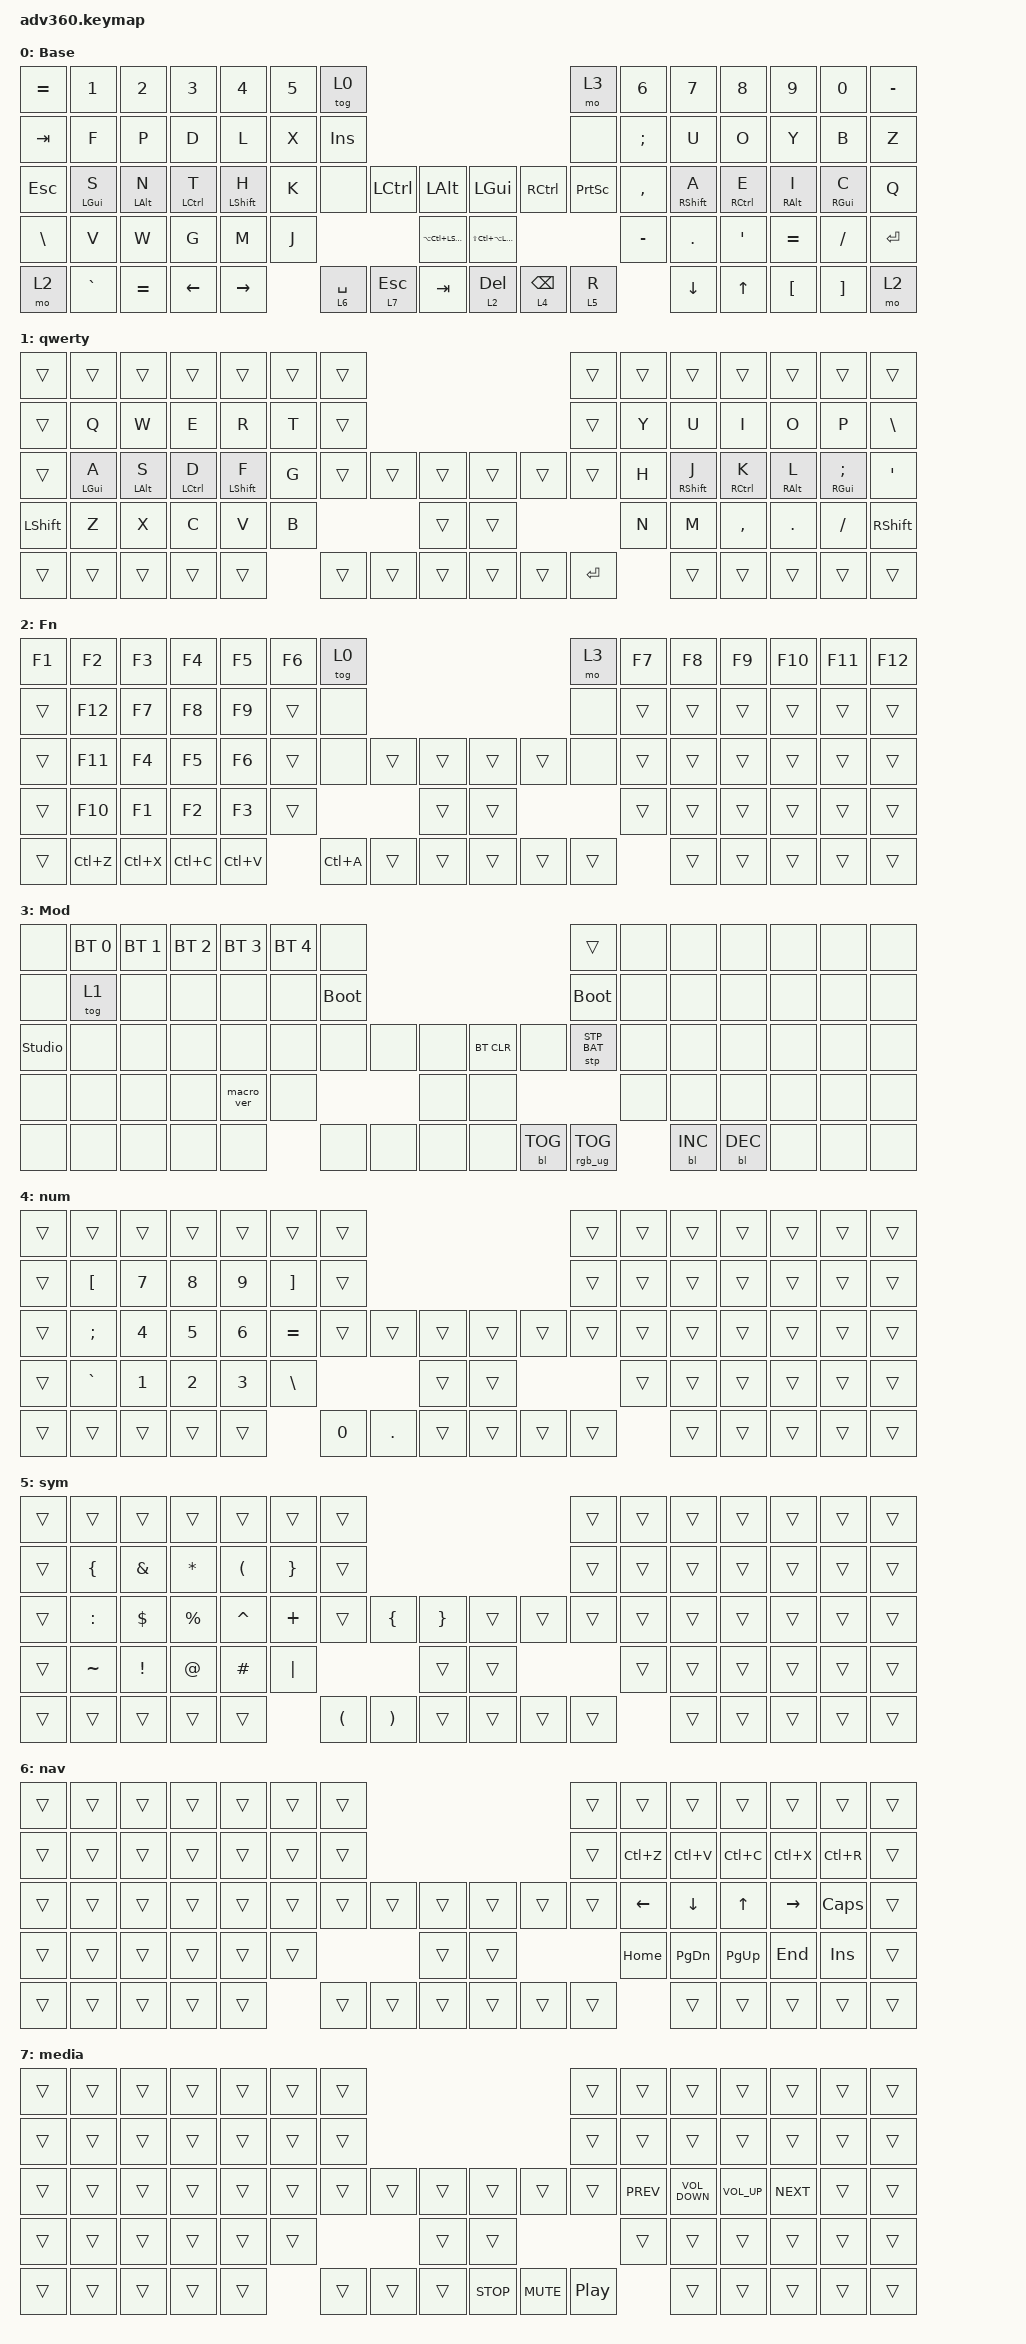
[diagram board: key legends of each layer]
#include <dt-bindings/zmk/stp.h>
#include <behaviors.dtsi>
#include <dt-bindings/zmk/backlight.h>
#include <dt-bindings/zmk/bt.h>
#include <dt-bindings/zmk/keys.h>
#include <dt-bindings/zmk/rgb.h>

/ {
    behaviors {
        #include "macros.dtsi"
      #include "version.dtsi"

        hm: homerow_mods {
            compatible = "zmk,behavior-hold-tap";
            label = "HOMEROW_MODS";
            #binding-cells = <2>;
            tapping-term-ms = <200>;
            quick_tap_ms = <200>;
            flavor = "tap-preferred";
            bindings = <&kp>, <&kp>;
        };
    };

    keymap {
        compatible = "zmk,keymap";

        default_layer {
            display-name = "Base";
            bindings = <
&kp EQUAL  &kp N1          &kp N2          &kp N3              &kp N4            &kp N5  &tog 0                                                                                         &mo 3            &kp N6     &kp N7             &kp N8               &kp N9           &kp N0           &kp MINUS
&kp TAB    &kp F           &kp P           &kp D               &kp L             &kp X   &kp INS                                                                                        &none            &kp SEMI   &kp U              &kp O                &kp Y            &kp B            &kp Z
&kp ESC    &hm LEFT_GUI S  &hm LEFT_ALT N  &hm LEFT_CONTROL T  &hm LEFT_SHIFT H  &kp K   &none        &kp LCTRL     &kp LALT                    &kp LGUI               &kp RCTRL        &kp PRINTSCREEN  &kp COMMA  &hm RIGHT_SHIFT A  &hm RIGHT_CONTROL E  &hm RIGHT_ALT I  &hm RIGHT_GUI C  &kp Q
&kp BSLH   &kp V           &kp W           &kp G               &kp M             &kp J                              &kp LA(LC(LEFT_SHIFT))      &kp LS(LC(LA(LMETA)))                                    &kp MINUS  &kp DOT            &kp APOS             &kp EQUAL        &kp FSLH         &kp ENTER
&mo 2      &kp GRAVE       &kp EQUAL       &kp LEFT            &kp RIGHT                 &lt 6 SPACE  &lt 7 ESCAPE  &kp TAB                     &lt 2 DELETE           &lt 4 BACKSPACE  &lt 5 R                     &kp DOWN_ARROW     &kp UP_ARROW         &kp LBKT         &kp RBKT         &mo 2
            >;
        };

        qwerty {
            bindings = <
&trans     &trans          &trans          &trans              &trans            &trans  &trans                                      &trans     &trans  &trans             &trans               &trans           &trans                   &trans
&trans     &kp Q           &kp W           &kp E               &kp R             &kp T   &trans                                      &trans     &kp Y   &kp U              &kp I                &kp O            &kp P                    &kp BSLH
&trans     &hm LEFT_GUI A  &hm LEFT_ALT S  &hm LEFT_CONTROL D  &hm LEFT_SHIFT F  &kp G   &trans  &trans  &trans      &trans  &trans  &trans     &kp H   &hm RIGHT_SHIFT J  &hm RIGHT_CONTROL K  &hm RIGHT_ALT L  &hm RIGHT_GUI SEMICOLON  &kp APOS
&kp LSHFT  &kp Z           &kp X           &kp C               &kp V             &kp B                   &trans      &trans                     &kp N   &kp M              &kp COMMA            &kp DOT          &kp FSLH                 &kp RSHFT
&trans     &trans          &trans          &trans              &trans                    &trans  &trans  &trans      &trans  &trans  &kp ENTER          &trans             &trans               &trans           &trans                   &trans
            >;
        };

        fn {
            display-name = "Fn";
            bindings = <
&kp F1  &kp F2     &kp F3     &kp F4     &kp F5     &kp F6  &tog 0                                         &mo 3   &kp F7  &kp F8  &kp F9  &kp F10  &kp F11  &kp F12
&trans  &kp F12    &kp F7     &kp F8     &kp F9     &trans  &none                                          &none   &trans  &trans  &trans  &trans   &trans   &trans
&trans  &kp F11    &kp F4     &kp F5     &kp F6     &trans  &none      &trans  &trans      &trans  &trans  &none   &trans  &trans  &trans  &trans   &trans   &trans
&trans  &kp F10    &kp F1     &kp F2     &kp F3     &trans                     &trans      &trans                  &trans  &trans  &trans  &trans   &trans   &trans
&trans  &kp LC(Z)  &kp LC(X)  &kp LC(C)  &kp LC(V)          &kp LC(A)  &trans  &trans      &trans  &trans  &trans          &trans  &trans  &trans   &trans   &trans
            >;
        };

        mod {
            display-name = "Mod";
            bindings = <
&none           &bt BT_SEL 0  &bt BT_SEL 1  &bt BT_SEL 2  &bt BT_SEL 3  &bt BT_SEL 4  &none                                                  &trans           &none  &none       &none       &none  &none  &none
&none           &tog 1        &none         &none         &none         &none         &bootloader                                            &bootloader      &none  &none       &none       &none  &none  &none
&studio_unlock  &none         &none         &none         &none         &none         &none        &none  &none      &bt BT_CLR  &none       &stp STP_BAT     &none  &none       &none       &none  &none  &none
&none           &none         &none         &none         &macro_ver    &none                             &none      &none                                    &none  &none       &none       &none  &none  &none
&none           &none         &none         &none         &none                       &none        &none  &none      &none       &bl BL_TOG  &rgb_ug RGB_TOG         &bl BL_INC  &bl BL_DEC  &none  &none  &none
            >;
        };

        num {
            bindings = <
&trans  &trans     &trans  &trans  &trans  &trans     &trans                                       &trans  &trans  &trans  &trans  &trans  &trans  &trans
&trans  &kp LBKT   &kp N7  &kp N8  &kp N9  &kp RBKT   &trans                                       &trans  &trans  &trans  &trans  &trans  &trans  &trans
&trans  &kp SEMI   &kp N4  &kp N5  &kp N6  &kp EQUAL  &trans  &trans   &trans      &trans  &trans  &trans  &trans  &trans  &trans  &trans  &trans  &trans
&trans  &kp GRAVE  &kp N1  &kp N2  &kp N3  &kp BSLH                    &trans      &trans                  &trans  &trans  &trans  &trans  &trans  &trans
&trans  &trans     &trans  &trans  &trans             &kp N0  &kp DOT  &trans      &trans  &trans  &trans          &trans  &trans  &trans  &trans  &trans
            >;
        };

        sym {
            bindings = <
&trans  &trans          &trans           &trans        &trans                &trans           &trans                                                                            &trans  &trans  &trans  &trans  &trans  &trans  &trans
&trans  &kp LEFT_BRACE  &kp AMPERSAND    &kp ASTERISK  &kp LEFT_PARENTHESIS  &kp RIGHT_BRACE  &trans                                                                            &trans  &trans  &trans  &trans  &trans  &trans  &trans
&trans  &kp COLON       &kp DOLLAR       &kp PERCENT   &kp CARET             &kp PLUS         &trans                &kp LEFT_BRACE         &kp RIGHT_BRACE      &trans  &trans  &trans  &trans  &trans  &trans  &trans  &trans  &trans
&trans  &kp TILDE       &kp EXCLAMATION  &kp AT_SIGN   &kp POUND             &kp PIPE                                                      &trans               &trans                  &trans  &trans  &trans  &trans  &trans  &trans
&trans  &trans          &trans           &trans        &trans                                 &kp LEFT_PARENTHESIS  &kp RIGHT_PARENTHESIS  &trans               &trans  &trans  &trans          &trans  &trans  &trans  &trans  &trans
            >;
        };

        nav {
            bindings = <
&trans  &trans  &trans  &trans  &trans  &trans  &trans                                      &trans  &trans          &trans          &trans        &trans           &trans        &trans
&trans  &trans  &trans  &trans  &trans  &trans  &trans                                      &trans  &kp LC(Z)       &kp LC(V)       &kp LC(C)     &kp LC(X)        &kp LC(R)     &trans
&trans  &trans  &trans  &trans  &trans  &trans  &trans  &trans  &trans      &trans  &trans  &trans  &kp LEFT_ARROW  &kp DOWN_ARROW  &kp UP_ARROW  &kp RIGHT_ARROW  &kp CAPSLOCK  &trans
&trans  &trans  &trans  &trans  &trans  &trans                  &trans      &trans                  &kp HOME        &kp PAGE_DOWN   &kp PAGE_UP   &kp END          &kp INSERT    &trans
&trans  &trans  &trans  &trans  &trans          &trans  &trans  &trans      &trans  &trans  &trans                  &trans          &trans        &trans           &trans        &trans
            >;
        };

        media {
            bindings = <
&trans  &trans  &trans  &trans  &trans  &trans  &trans                                              &trans            &trans      &trans             &trans           &trans      &trans  &trans
&trans  &trans  &trans  &trans  &trans  &trans  &trans                                              &trans            &trans      &trans             &trans           &trans      &trans  &trans
&trans  &trans  &trans  &trans  &trans  &trans  &trans  &trans  &trans      &trans      &trans      &trans            &kp C_PREV  &kp C_VOLUME_DOWN  &kp C_VOLUME_UP  &kp C_NEXT  &trans  &trans
&trans  &trans  &trans  &trans  &trans  &trans                  &trans      &trans                                    &trans      &trans             &trans           &trans      &trans  &trans
&trans  &trans  &trans  &trans  &trans          &trans  &trans  &trans      &kp C_STOP  &kp C_MUTE  &kp C_PLAY_PAUSE              &trans             &trans           &trans      &trans  &trans
            >;
        };
    };
};
